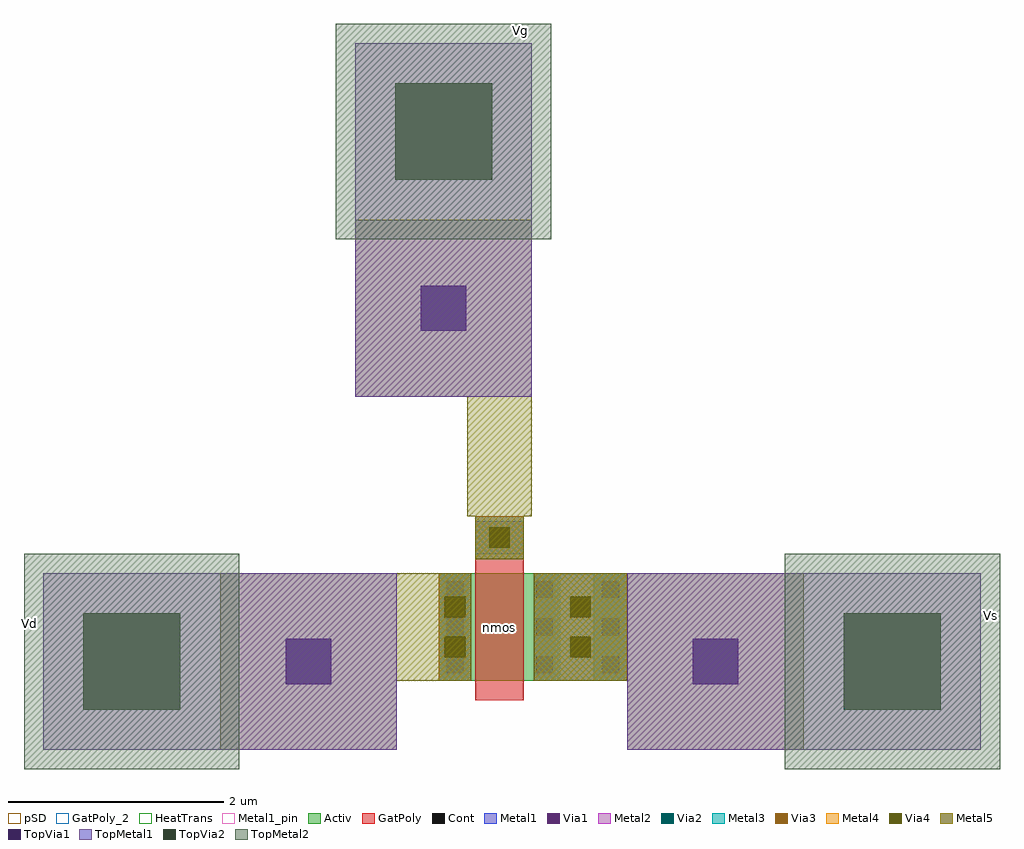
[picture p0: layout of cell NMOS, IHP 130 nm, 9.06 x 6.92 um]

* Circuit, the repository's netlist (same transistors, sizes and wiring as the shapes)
** sch_path: /workspaces/usm-vlsi-tools/shared_xserver/simulations/Projects/IHP/IPD413_202501/xschem/Ayudantias/Ayudantia_3/Sym_NMOS.sch
*.subckt NMOS Vd Vs Vg
.subckt NMOS 

M2 Vd Vg Vs Vs sg13_lv_nmos w=1.0u l=0.45u ng=1 m=1
**.ends
.end

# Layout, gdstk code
import gdstk
lib = gdstk.Library(unit=1e-6, precision=1e-09)
def R(c, l, rs):  # rectangles x0, y0, x1, y1
    for r in rs: c.add(gdstk.rectangle(r[:2], r[2:], *l))
def A(c, l, x, y, w, h, nx, ny, dx, dy):  # array of equal rectangles
    R(c, l, [(x+i*dx, y+j*dy, x+i*dx+w, y+j*dy+h) for i in range(nx) for j in range(ny)])
Activ = (1, 0)
GatPoly = (5, 0)
GatPoly_2 = (5, 2)
Cont = (6, 0)
Metal1 = (8, 0)
Metal1_pin = (8, 2)
Metal2 = (10, 0)
pSD = (14, 0)
Via1 = (19, 0)
Via2 = (29, 0)
Metal3 = (30, 0)
Via3 = (49, 0)
Metal4 = (50, 0)
HeatTrans = (51, 0)
Via4 = (66, 0)
Metal5 = (67, 0)
TopVia1 = (125, 0)
TopMetal1 = (126, 0)
TopVia2 = (133, 0)
TopMetal2 = (134, 0)

nmos = lib.new_cell('NMOS')
R(nmos, Activ, [(80.77,2.6,81.07,2.9), (80.77,2.6,81.9,3.6), (81.6,2.6,81.9,2.9), (82.21,2.6,82.52,3.6)])
R(nmos, GatPoly, [(81.11,2.42,81.56,3.78), (81.11,3.78,81.56,4.08)])
R(nmos, GatPoly_2, [(81.11,2.42,81.56,3.78)])
A(nmos, Cont, 80.84, 2.67, 0.16, 0.16, 1, 3, 0, 0.35)
A(nmos, Cont, 81.67, 2.67, 0.16, 0.16, 1, 3, 0, 0.35)
A(nmos, Cont, 82.285, 2.67, 0.16, 0.16, 1, 3, 0, 0.35)
R(nmos, Cont, [(82.285,3.37,82.445,3.53), (81.255,3.85,81.415,4.01)])
R(nmos, Metal1, [(80.77,2.6,81.07,3.6), (81.65,2.6,81.85,3.6), (81.65,2.6,82.52,3.6), (82.21,2.6,82.52,3.6), (81.11,3.78,81.56,4.08)])
R(nmos, Metal1_pin, [(80.82,2.6,81.02,3.6), (81.65,2.6,81.85,3.6)])
R(nmos, Metal2, [(80.77,2.6,81.07,3.6), (80.82,2.6,81.02,3.6), (81.65,2.6,82.52,3.6), (81.11,3.73,81.56,4.13)])
R(nmos, pSD, [(82.21,2.6,82.52,3.6)])
R(nmos, Via1, [(80.825,2.82,81.015,3.01), (81.99,2.82,82.18,3.01), (81.99,2.82,82.18,3.01), (81.99,2.82,82.18,3.01), (80.825,3.19,81.015,3.38), (81.99,3.19,82.18,3.38), (81.99,3.19,82.18,3.38), (81.24,3.835,81.43,4.025)])
R(nmos, Via2, [(80.825,2.82,81.015,3.01), (81.99,2.82,82.18,3.01), (80.825,3.19,81.015,3.38), (81.99,3.19,82.18,3.38), (81.24,3.835,81.43,4.025)])
R(nmos, Metal3, [(80.77,2.6,81.07,3.6), (81.65,2.6,82.52,3.6), (81.11,3.73,81.56,4.13)])
R(nmos, Via3, [(80.825,2.82,81.015,3.01), (81.99,2.82,82.18,3.01), (80.825,3.19,81.015,3.38), (81.99,3.19,82.18,3.38), (81.24,3.835,81.43,4.025)])
R(nmos, Metal4, [(80.77,2.6,81.07,3.6), (81.65,2.6,82.52,3.6), (81.11,3.73,81.56,4.13)])
R(nmos, HeatTrans, [(81.11,2.42,81.56,3.78)])
R(nmos, Via4, [(80.825,2.82,81.015,3.01), (81.99,2.82,82.18,3.01), (80.825,3.19,81.015,3.38), (81.99,3.19,82.18,3.38), (81.24,3.835,81.43,4.025)])
R(nmos, Metal5, [(78.74,1.96,80.38,3.6), (82.52,1.96,84.16,3.6), (80.38,2.6,81.07,3.6), (81.65,2.6,82.52,3.6), (81.11,3.73,81.56,4.13), (81.035,4.13,81.635,4.73), (81.035,4.73,81.635,5.24), (79.995,5.24,81.635,6.88)])
R(nmos, TopVia1, [(79.35,2.57,79.77,2.99), (83.13,2.57,83.55,2.99), (80.605,5.85,81.025,6.27)])
R(nmos, TopMetal1, [(77.1,1.96,78.74,3.6), (78.74,1.96,80.38,3.6), (82.52,1.96,84.16,3.6), (84.16,1.96,85.8,3.6), (79.995,5.24,81.635,6.88), (79.995,6.88,81.635,8.52)])
R(nmos, TopVia2, [(77.47,2.33,78.37,3.23), (84.53,2.33,85.43,3.23), (80.365,7.25,81.265,8.15)])
R(nmos, TopMetal2, [(76.92,1.78,78.92,3.78), (83.98,1.78,85.98,3.78), (79.815,6.7,81.815,8.7)])
nmos.add(gdstk.Label('nmos', (81.335,3.1), layer=63, texttype=0))
nmos.add(gdstk.Label('nmos', (81.335,3.1), layer=51, texttype=0))
nmos.add(gdstk.Label('Vd', (76.97,3.13), layer=134, texttype=0))
nmos.add(gdstk.Label('Vs', (85.89,3.21), layer=134, texttype=0))
nmos.add(gdstk.Label('Vg', (81.53,8.64), layer=134, texttype=0))

lib.write_gds('NMOS.gds')
